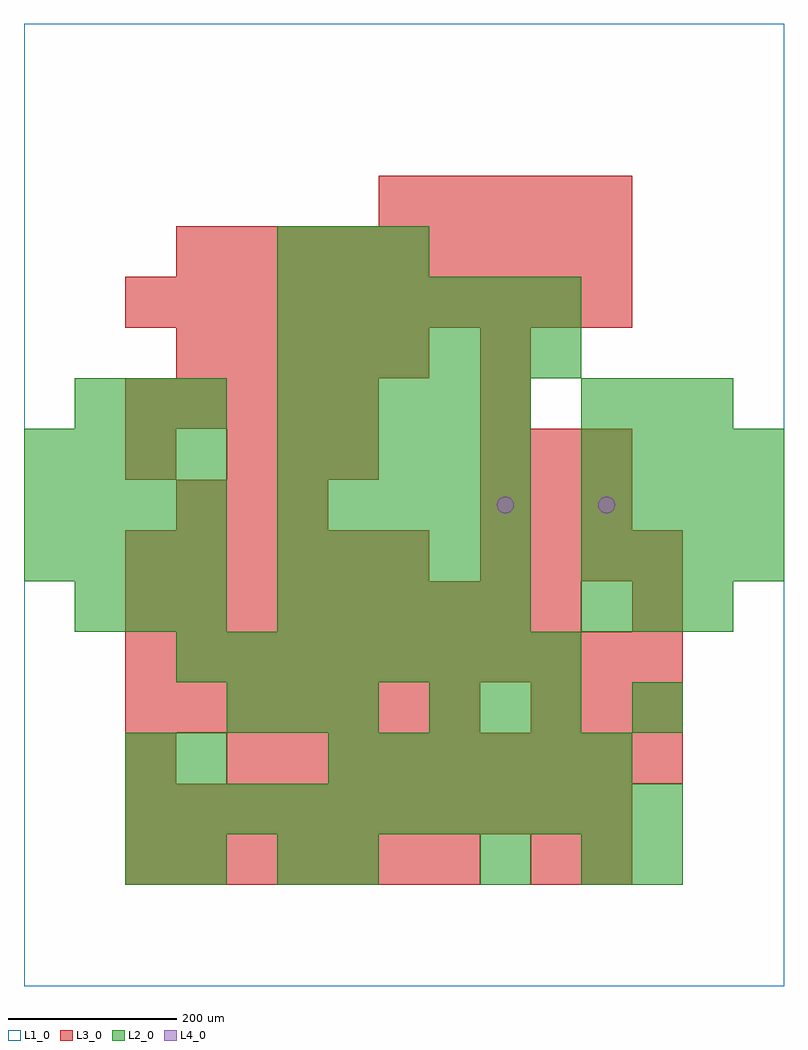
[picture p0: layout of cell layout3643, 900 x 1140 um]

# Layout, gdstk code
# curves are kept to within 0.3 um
import gdstk
lib = gdstk.Library(unit=1e-6, precision=1e-09)
def R(c, l, rs):  # rectangles x0, y0, x1, y1
    for r in rs: c.add(gdstk.rectangle(r[:2], r[2:], *l))
def A(c, l, x, y, w, h, nx, ny, dx, dy):  # array of equal rectangles
    R(c, l, [(x+i*dx, y+j*dy, x+i*dx+w, y+j*dy+h) for i in range(nx) for j in range(ny)])
def P(c, l, *ps):  # polygons
    for p in ps: c.add(gdstk.Polygon(p, *l))
L1_0 = (1, 0)
L2_0 = (2, 0)
L3_0 = (3, 0)
L4_0 = (4, 0)

layout3643 = lib.new_cell('layout3643')
R(layout3643, L1_0, [(0,0,900,1140)])
A(layout3643, L2_0, 120, 180, 60, 60, 11, 1, 60, 0)
A(layout3643, L2_0, 360, 240, 60, 60, 6, 1, 60, 0)
A(layout3643, L2_0, 240, 300, 60, 60, 3, 1, 60, 0)
A(layout3643, L2_0, 480, 300, 60, 60, 3, 1, 60, 0)
A(layout3643, L2_0, 180, 360, 60, 60, 8, 1, 60, 0)
A(layout3643, L2_0, 60, 420, 60, 60, 3, 2, 60, 240)
A(layout3643, L2_0, 300, 420, 60, 60, 5, 5, 60, 60)
A(layout3643, L2_0, 660, 420, 60, 60, 3, 2, 60, 240)
A(layout3643, L2_0, 0, 480, 60, 60, 4, 3, 60, 60)
A(layout3643, L2_0, 660, 480, 60, 60, 4, 3, 60, 60)
A(layout3643, L2_0, 300, 720, 60, 60, 6, 2, 60, 60)
A(layout3643, L2_0, 300, 840, 60, 60, 3, 1, 60, 0)
R(layout3643, L2_0, [(120,120,180,180), (180,120,240,180), (300,120,360,180), (360,120,420,180), (540,120,600,180), (660,120,720,180), (720,120,780,180), (120,240,180,300), (180,240,240,300), (720,300,780,360)])
A(layout3643, L3_0, 120, 120, 60, 60, 7, 2, 60, 180)
A(layout3643, L3_0, 120, 180, 60, 60, 10, 2, 60, 600)
A(layout3643, L3_0, 240, 240, 60, 60, 9, 1, 60, 0)
A(layout3643, L3_0, 600, 300, 60, 60, 3, 1, 60, 0)
A(layout3643, L3_0, 120, 360, 60, 60, 11, 1, 60, 0)
A(layout3643, L3_0, 120, 420, 60, 60, 9, 1, 60, 0)
A(layout3643, L3_0, 120, 480, 60, 60, 6, 1, 60, 0)
A(layout3643, L3_0, 540, 480, 60, 60, 4, 1, 60, 0)
A(layout3643, L3_0, 180, 540, 60, 60, 3, 1, 60, 0)
A(layout3643, L3_0, 540, 540, 60, 60, 3, 2, 60, 60)
A(layout3643, L3_0, 240, 600, 60, 60, 3, 1, 60, 0)
A(layout3643, L3_0, 120, 660, 60, 60, 5, 1, 60, 0)
A(layout3643, L3_0, 180, 720, 60, 60, 5, 1, 60, 0)
A(layout3643, L3_0, 180, 840, 60, 60, 9, 1, 60, 0)
A(layout3643, L3_0, 420, 900, 60, 60, 5, 1, 60, 0)
R(layout3643, L3_0, [(600,120,660,180), (660,120,720,180), (120,240,180,300), (720,420,780,480), (120,600,180,660), (540,660,600,720), (540,720,600,780)])
P(layout3643, L4_0, [(580,570),(579.239,573.827),(577.071,577.071),(573.827,579.239),(570,580),(566.173,579.239),(562.929,577.071),(560.761,573.827),(560,570),(560.761,566.173),(562.929,562.929),(566.173,560.761),(570,560),(573.827,560.761),(577.071,562.929),(579.239,566.173)],
  [(700,570),(699.239,573.827),(697.071,577.071),(693.827,579.239),(690,580),(686.173,579.239),(682.929,577.071),(680.761,573.827),(680,570),(680.761,566.173),(682.929,562.929),(686.173,560.761),(690,560),(693.827,560.761),(697.071,562.929),(699.239,566.173)])

lib.write_gds('layout3643.gds')
